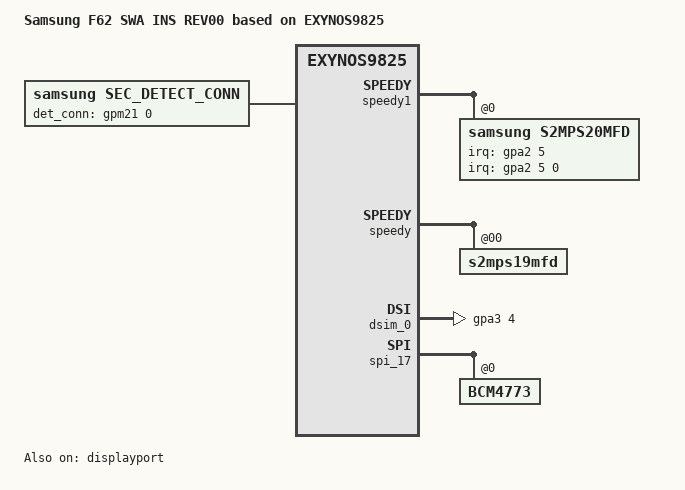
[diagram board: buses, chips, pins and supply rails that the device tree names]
/*
 * SAMSUNG EXYNOS9825 board device tree source
 *
 * Copyright (c) 2018 Samsung Electronics Co., Ltd.
 *		http://www.samsung.com
 *
 * This program is free software; you can redistribute it and/or modify
 * it under the terms of the GNU General Public License version 2 as
 * published by the Free Software Foundation.
 */

/dts-v1/;
/plugin/;
#include "../exynos/modem-s5000ap-sipc-pdata.dtsi"
#include "../exynos/exynos9825-mali_rev2.dtsi"
#include "exynos9825-m62_pm_00.dtsi"
#include "exynos9825-m62_common.dtsi"
#include "exynos9825-m62_fingerprint_00.dtsi"
#include "exynos9825-f62_camera_00.dtsi"
#include "exynos9820-sensorhub.dtsi"
#include "exynos9825-f62_grip_00.dtsi"
#include "exynos9825-f62_abc.dtsi"
#include "exynos_gpio_config_macros.dtsi"
#include "battery_data_f62_common.dtsi"
#include "exynos9825-nfc_00.dtsi"
/ {
	compatible = "samsung, F62 SWA INS REV00", "samsung,exynos9825";
	dtbo-hw_rev = <0>;
	dtbo-hw_rev_end = <0>;

	fragment@model {
		target-path = "/";
		__overlay__ {
			#address-cells = <2>;
			#size-cells = <1>;

			model = "Samsung F62 SWA INS REV00 based on EXYNOS9825";

			pinctrl@15C30000 {
				sub_detect_conn_setting: sub_detect_conn_setting {
					samsung,pins = "gpm21-0";
					samsung,pin-function = <0xf>;
					samsung,pin-pud = <0>;
					samsung,pin-drv = <0>;
					samsung,pin-con-pdn = <3>;
					samsung,pin-pud-pdn = <0>;
				 };
			};

			sec_detect_conn {
				compatible = "samsung,sec_detect_conn";
				sec,det_conn_gpios = <&gpm21 0 0>;
				sec,det_conn_name = "SUB_CONNECT";
				sec,det_conn_irq_type = <3>;
				pinctrl-names = "default";
				pinctrl-0 = <&sub_detect_conn_setting>;
			};
		}; /* end of __overlay__ */
	}; /* end of fragment */
}; /* end of root */

&pinctrl_0 {
	s_pmic_irq1: s-pmic-irq1 {
		samsung,pins = "gpa2-5";
		samsung,pin-pud = <3>;
		samsung,pin-drv = <3>;
	};
};

&speedy1 {
	#address-cells = <1>;
	#size-cells = <0>;
	status = "okay";
	s2mps20mfd@00 {
		compatible = "samsung,s2mps20mfd";
		acpm-ipc-channel = <2>;
		i2c-speedy-address;
		s2mps20,wakeup = "enabled";
		s2mps20,irq-gpio = <&gpa2 5 0>;
		reg = <0x00>;
		interrupts = <5 0 0>;
		interrupt-parent = <&gpa2>;
		pinctrl-names = "default";
		pinctrl-0 = <&s_pmic_irq1>;
	};
};

&speedy {
	s2mps19mfd@00 {
		smpl_warn_en = <1>; /* 1 : enable , 0 : disable */
		smpl_warn_dev2= <1>;
	};
};

&dsim_0 {
	lcd_info = <&s6e3ha9>;
	/* rev5 : 0, revC01 & s5100 : 1 */
	board_info = <1>;
	/* reset, power */
	gpios = <&gpa3 4 0x1>;
};

&hsi2c_25 {
	status = "disabled";
};

&ufs {
	/* PM Qos for INT power domain */
	ufs-pm-qos-int = <534000>;
};
&displayport {
	status = "okay";
	dp,aux_sw_oe = <&gpg1 6 0>;
	dp,sbu_sw_sel = <&gpg4 0 0>;
	dp,usb_con_sel = <&gpg0 4 0>;
	dp,displayport_not_support;

	pinctrl-names = "default";
};

&spi_17 {
	BCM4773@0 {
		ssp-acc-position = <7>;
		ssp-mag-position = <4>;
		ssp-mag-array = /bits/ 8 <197 80 231 170 26 235 1 227 214 54 66 113 52 63 254 87 252 225 167 176 192 250 168 128 10 175 20>;
	};
};

/* ----------------------------------------------------------------------------
 * Configurations for GPIOs without Device Driver
 * Note: Do NOT add pins using by device drivers to the configuration below
 * ----------------------------------------------------------------------------
 */
/*
 * pin banks of exynos9820_R pin-controller 0 (ALIVE) : pinctrl@15850000
 * GPA0, GPA1, GPA2, GPA3, GPA4
 * GPQ0
 */
/*
&pinctrl_0 {
	pinctrl-names = "default";
	pinctrl-0 = <&initial0>;
	initial0: initial-state {
	};
};
*/

/*
 * pin banks of exynos9820_R pin-controller 1 (AUD) : pinctrl@18C60000
 * GPB0, GPB1, GPB2
 */
/*
&pinctrl_1 {
	pinctrl-names = "default";
	pinctrl-0 = <&initial1>;
	initial1: initial-state {
	};
};
*/

/*
 * pin banks of exynos9820_R pin-controller 3 (CMGP) : pinctrl@15C30000
 * GPM0, GPM1, GPM2, GPM3, GPM4, GPM5, GPM6, GPM7, GPM8, GPM9
 * GPM10, GPM11, GPM12, GPM13, GPM14, GPM15, GPM16, GPM17, GPM18, GPM19
 * GPM20, GPM21, GPM22, GPM23, GPM24, GPM25, GPM26, GPM27, GPM28, GPM29
 * GPM30, GPM31
 */
&pinctrl_2 {
	pinctrl-names = "default";
	pinctrl-0 = <&initial2>;
	initial2: initial-state {
		PIN_IN(gpm0-0, DOWN);		/* NC */
		PIN_IN(gpm1-0, DOWN);		/* NC */
		PIN_IN(gpm2-0, NONE);		/* MEM_SCL_1P8 */
		PIN_IN(gpm3-0, NONE);		/* MEM_SDA_1P8 */
		PIN_IN(gpm16-0, NONE);		/* CABLE_DET */
		PIN_IN(gpm30-0, DOWN);		/* NC */
		PIN_IN(gpm31-0, DOWN);		/* NC */
	};
};

/*
 * pin banks of exynos9820_R pin-controller 4 (FSYS0) : pinctrl@13030000
 * GPF0
 */
/*
&pinctrl_3 {
	pinctrl-names = "default";
	pinctrl-0 = <&initial3>;
	initial3: initial-state {
	};
};
*/

/*
 * pin banks of exynos9830 pin-controller 5 (FSYS1) : pinctrl@13C40000
 * GPF1, GPF2, GPF3
 */
/*
&pinctrl_4 {
	pinctrl-names = "default";
	pinctrl-0 = <&initial4>;
	initial4: initial-state {
	};
};
*/

/*
 * pin banks of exynos9830 pin-controller 6 (PERIC0) : pinctrl@10430000
 * GPP0, GPP1, GPP2, GPP3
 * GPG1, GPG1, GPG2, GPG4
 */
&pinctrl_5 {
	pinctrl-names = "default";
	pinctrl-0 = <&initial5>;
	initial5: initial-state {
		PIN_IN_SLP(gpg0-0, UP, INPUT, UP);		// IFC_SENSE_INT_AP
		PIN_IN_SLP(gpg1-3, NONE, INPUT, NONE);		// HW_REV2
		PIN_IN_SLP(gpg1-4, NONE, INPUT, NONE);		// HW_REV1
		PIN_IN_SLP(gpg1-5, NONE, INPUT, NONE);		// HW_REV0
	};
};

/*
 * pin banks of exynos9830 pin-controller 7 (PERIC1) : pinctrl@10830000
 * GPP4, GPP5, GPP6
 * GPC0, GPC1
 * GPD0
 * GPG3
 * GPH0, GPH1
 */
&pinctrl_6 {
	pinctrl-names = "default";
	pinctrl-0 = <&initial6>;
	initial6: initial-state {
		PIN_IN_SLP(gpd0-2, NONE, OUT0, NONE);	/* XBOOTLDO0 */
		PIN_IN_SLP(gpp4-4, DOWN, INPUT, DOWN);		// NC
		PIN_IN_SLP(gpp4-5, DOWN, INPUT, DOWN);		// NC
	};
};

/*
 * pin banks of exynos9830 pin-controller 8 (VTSS) : pinctrl@15580000
 * GPV0
 */
/*
&pinctrl_7 {
	pinctrl-names = "default";
	pinctrl-0 = <&initial7>;
	initial7: initial-state {
	};
};
*/

